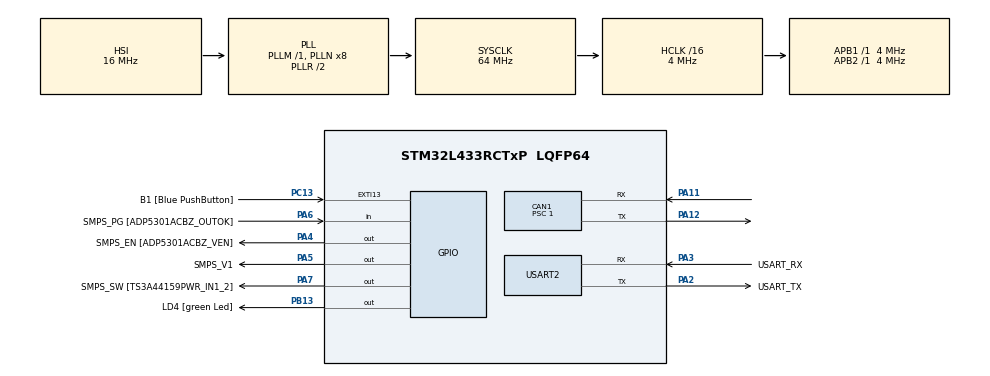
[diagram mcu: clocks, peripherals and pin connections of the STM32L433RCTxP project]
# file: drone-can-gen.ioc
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CAN1.BS1=CAN_BS1_6TQ
CAN1.CalculateBaudRate=500000
CAN1.CalculateTimeBit=2000
CAN1.CalculateTimeQuantum=250.0
CAN1.Prescaler=1
CAN1.SJW=CAN_SJW_2TQ
Mcu.Family=STM32L4
Mcu.Name=STM32L433RCTxP
Mcu.Package=LQFP64
NVIC.CAN1_RX0_IRQn=true\:0\:0\:false\:false\:true\:true\:true\:true
NVIC.CAN1_TX_IRQn=true\:0\:0\:false\:false\:true\:true\:true\:true
NVIC.PriorityGroup=NVIC_PRIORITYGROUP_4
PA11.GPIO_PuPd=GPIO_PULLUP
PA11.Mode=CAN_Activate
PA11.Signal=CAN1_RX
PA12.Mode=CAN_Activate
PA12.Signal=CAN1_TX
PA13\ (JTMS-SWDIO).GPIO_Label=TMS
PA13\ (JTMS-SWDIO).Mode=Serial_Wire
PA13\ (JTMS-SWDIO).Signal=SYS_JTMS-SWDIO
PA14\ (JTCK-SWCLK).GPIO_Label=TCK
PA14\ (JTCK-SWCLK).Mode=Serial_Wire
PA14\ (JTCK-SWCLK).Signal=SYS_JTCK-SWCLK
PA2.GPIO_Label=USART_TX
PA2.GPIO_Mode=GPIO_MODE_AF_PP
PA2.GPIO_PuPd=GPIO_NOPULL
PA2.GPIO_Speed=GPIO_SPEED_FREQ_VERY_HIGH
PA2.Mode=Asynchronous
PA2.Signal=USART2_TX
PA3.GPIO_Label=USART_RX
PA3.GPIO_Mode=GPIO_MODE_AF_PP
PA3.GPIO_PuPd=GPIO_NOPULL
PA3.GPIO_Speed=GPIO_SPEED_FREQ_VERY_HIGH
PA3.Mode=Asynchronous
PA3.Signal=USART2_RX
PA4.GPIO_Label=SMPS_EN [ADP5301ACBZ_VEN]
PA4.Signal=GPIO_Output
PA5.GPIO_Label=SMPS_V1
PA5.GPIO_ModeDefaultOutputPP=GPIO_MODE_OUTPUT_PP
PA5.GPIO_PuPd=GPIO_NOPULL
PA5.GPIO_Speed=GPIO_SPEED_FREQ_LOW
PA5.Signal=GPIO_Output
PA6.GPIO_Label=SMPS_PG [ADP5301ACBZ_OUTOK]
PA6.GPIO_PuPd=GPIO_PULLUP
PA6.Signal=GPIO_Input
PA7.GPIO_Label=SMPS_SW [TS3A44159PWR_IN1_2]
PA7.Signal=GPIO_Output
PB13.GPIO_Label=LD4 [green Led]
PB13.Signal=GPIO_Output
PB3\ (JTDO-TRACESWO).GPIO_Label=SWO
PB3\ (JTDO-TRACESWO).Signal=SYS_JTDO-SWO
PC13.GPIO_Label=B1 [Blue PushButton]
PC13.GPIO_ModeDefaultEXTI=GPIO_MODE_IT_FALLING
PC13.GPIO_PuPd=GPIO_NOPULL
PC13.Signal=GPXTI13
PC14-OSC32_IN\ (PC14).Mode=LSE-External-Oscillator
PC14-OSC32_IN\ (PC14).Signal=RCC_OSC32_IN
PC15-OSC32_OUT\ (PC15).Mode=LSE-External-Oscillator
PC15-OSC32_OUT\ (PC15).Signal=RCC_OSC32_OUT
PH0-OSC_IN\ (PH0).GPIO_Label=MCO
PH0-OSC_IN\ (PH0).Mode=HSE-External-Clock-Source
PH0-OSC_IN\ (PH0).Signal=RCC_OSC_IN
PH1-OSC_OUT\ (PH1).Signal=RCC_OSC_OUT
ProjectManager.HeapSize=0x200
ProjectManager.StackSize=0x400
ProjectManager.TargetToolchain=STM32CubeIDE
RCC.ADCFreq_Value=64000000
RCC.AHBCLKDivider=RCC_SYSCLK_DIV16
RCC.AHBFreq_Value=4000000
RCC.APB1Freq_Value=4000000
RCC.APB1TimFreq_Value=4000000
RCC.APB2Freq_Value=4000000
RCC.APB2TimFreq_Value=4000000
RCC.CortexFreq_Value=4000000
RCC.HCLKFreq_Value=4000000
RCC.HSE_VALUE=8000000
RCC.HSI48_VALUE=48000000
RCC.HSI_VALUE=16000000
RCC.MSIClockRange=RCC_MSIRANGE_11
RCC.MSI_VALUE=48000000
RCC.PLLSourceVirtual=RCC_PLLSOURCE_HSI
RCC.PREFETCH_ENABLE=1
RCC.SYSCLKFreq_VALUE=64000000
RCC.SYSCLKSource=RCC_SYSCLKSOURCE_PLLCLK
RCC.USBFreq_Value=64000000
RCC.VCOOutputFreq_Value=128000000
USART2.VirtualMode-Asynchronous=VM_ASYNC
VP_TIM1_VS_ClockSourceITR.Mode=TriggerSource_ITR1
board=NUCLEO-L433RC-P

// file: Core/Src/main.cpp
/* USER CODE BEGIN Header */
/**
  ******************************************************************************
  * @file           : main.c
  * @brief          : Main program body
  ******************************************************************************
  * @attention
  *
  * Copyright (c) 2025 STMicroelectronics.
  * All rights reserved.
  *
  * This software is licensed under terms that can be found in the LICENSE file
  * in the root directory of this software component.
  * If no LICENSE file comes with this software, it is provided AS-IS.
  *
  ******************************************************************************
  */
/* USER CODE END Header */
#include "main.h"

/* USER CODE BEGIN Includes */
#define USER_VECT_TAB_ADDRESS
#include "canard.h"
#include "dronecan_msgs.h"
#include "canard_stm32_driver.h"
#include <stdio.h>
#include "stm32l4xx_hal.h"

/* USER CODE END Includes */

CAN_HandleTypeDef hcan1;

TIM_HandleTypeDef htim1;

UART_HandleTypeDef huart2;

/* USER CODE BEGIN PV */
static CanardInstance canard;
static const size_t BUFFER_SIZE = 1024;
static uint8_t canard_buffer[BUFFER_SIZE];
static const uint8_t NODE_ID = 42;
static const char * const NODE_NAME = "drone-can-gen";
static uavcan_protocol_NodeStatus node_status;

/* USER CODE END PV */

void SystemClock_Config(void);
static void MX_GPIO_Init(void);
static void MX_USART2_UART_Init(void);
static void MX_CAN1_Init(void);
static void MX_TIM1_Init(void);

/* USER CODE BEGIN 0 */
void onTransferReceived(CanardInstance *ins, CanardRxTransfer *transfer) {
  switch (transfer->transfer_type) {
  case CanardTransferTypeRequest:
    if (transfer->data_type_id == UAVCAN_PROTOCOL_GETNODEINFO_ID) {
      // handleGetNodeInfo(transfer);
    }
    break;
  case CanardTransferTypeResponse:
    break;
  case CanardTransferTypeBroadcast:

    break;
  }
}
bool shouldAcceptTransfer(const CanardInstance *ins,
                          uint64_t *out_data_type_signature,
                          uint16_t data_type_id,
                          CanardTransferType transfer_type,
                          uint8_t source_node_id) {
  if (transfer_type == CanardTransferTypeRequest) {
    // check if we want to handle a specific service request
    switch (data_type_id) {
    case UAVCAN_PROTOCOL_GETNODEINFO_ID: {
      *out_data_type_signature = UAVCAN_PROTOCOL_GETNODEINFO_REQUEST_SIGNATURE;
      return true;
    }
    }
  }
  // we don't want any other messages
  return false;
}
void processCanardTxQueue() {
  for (const CanardCANFrame *tx_frame;
       (tx_frame = canardPeekTxQueue(&canard)) != NULL;) {
    const int16_t tx_res = canardSTM32Transmit(&hcan1, tx_frame);

    if (tx_res < 0) {
      printf("Transmit error %d\n", tx_res);
      canardPopTxQueue(&canard);
    } else if (tx_res > 0) {
      printf("Successfully transmitted message\n");
      canardPopTxQueue(&canard);
    } else {
      printf("Timeout! Trying again later.\n");
      break;
    }
  }
}
void broadcastNodeStatus() {
  uint8_t status_buffer[UAVCAN_PROTOCOL_NODESTATUS_MAX_SIZE];

  node_status.uptime_sec = HAL_GetTick() / 1000U;
  node_status.health = UAVCAN_PROTOCOL_NODESTATUS_HEALTH_OK;
  node_status.mode = UAVCAN_PROTOCOL_NODESTATUS_MODE_OPERATIONAL;
  node_status.sub_mode = 0;
  node_status.vendor_specific_status_code = 0;

  uint32_t len = uavcan_protocol_NodeStatus_encode(&node_status, status_buffer);

  // we need a static variable for the transfer ID. This is
  // incremeneted on each transfer, allowing for detection of packet
  // loss
  static uint8_t transfer_id;

  canardBroadcast(&canard, UAVCAN_PROTOCOL_NODESTATUS_SIGNATURE,
                  UAVCAN_PROTOCOL_NODESTATUS_ID, &transfer_id,
                  CANARD_TRANSFER_PRIORITY_LOW, status_buffer, len);
}

/* USER CODE END 0 */

int main(void)
{

  /* MCU Configuration--------------------------------------------------------*/

  /* Reset of all peripherals, Initializes the Flash interface and the Systick. */
  HAL_Init();

  /* Configure the system clock */
  SystemClock_Config();

  /* Initialize all configured peripherals */
  MX_GPIO_Init();
  MX_USART2_UART_Init();
  MX_CAN1_Init();
  MX_TIM1_Init();
  /* USER CODE BEGIN 2 */
  while (HAL_CAN_Start(&hcan1) != HAL_OK) {
 	  HAL_Delay(20);
   }
  canardInit(&canard, canard_buffer, BUFFER_SIZE, onTransferReceived,
 	               shouldAcceptTransfer, NULL);
  canardSetLocalNodeID(&canard, NODE_ID);

  /* USER CODE END 2 */

  /* Infinite loop */
  /* USER CODE BEGIN WHILE */
  uint64_t last_millis = HAL_GetTick();

  while (1)
  {

	  processCanardTxQueue();
    /* USER CODE END WHILE */

    /* USER CODE BEGIN 3 */
	  if (HAL_GetTick() - last_millis > 3000) {
		  last_millis += 3000;
		  printf("broadcasting node status\n");
		  broadcastNodeStatus();
	  }
	  HAL_Delay(20);

  }

  /* USER CODE END 3 */
}

void SystemClock_Config(void)
{
  RCC_OscInitTypeDef RCC_OscInitStruct = {0};
  RCC_ClkInitTypeDef RCC_ClkInitStruct = {0};

  /** Configure the main internal regulator output voltage
  */
  if (HAL_PWREx_ControlVoltageScaling(PWR_REGULATOR_VOLTAGE_SCALE1) != HAL_OK)
  {
    Error_Handler();
  }

  /** Initializes the RCC Oscillators according to the specified parameters
  * in the RCC_OscInitTypeDef structure.
  */
  RCC_OscInitStruct.OscillatorType = RCC_OSCILLATORTYPE_HSI;
  RCC_OscInitStruct.HSIState = RCC_HSI_ON;
  RCC_OscInitStruct.HSICalibrationValue = RCC_HSICALIBRATION_DEFAULT;
  RCC_OscInitStruct.PLL.PLLState = RCC_PLL_ON;
  RCC_OscInitStruct.PLL.PLLSource = RCC_PLLSOURCE_HSI;
  RCC_OscInitStruct.PLL.PLLM = 1;
  RCC_OscInitStruct.PLL.PLLN = 8;
  RCC_OscInitStruct.PLL.PLLP = RCC_PLLP_DIV7;
  RCC_OscInitStruct.PLL.PLLQ = RCC_PLLQ_DIV2;
  RCC_OscInitStruct.PLL.PLLR = RCC_PLLR_DIV2;
  if (HAL_RCC_OscConfig(&RCC_OscInitStruct) != HAL_OK)
  {
    Error_Handler();
  }

  /** Initializes the CPU, AHB and APB buses clocks
  */
  RCC_ClkInitStruct.ClockType = RCC_CLOCKTYPE_HCLK|RCC_CLOCKTYPE_SYSCLK
                              |RCC_CLOCKTYPE_PCLK1|RCC_CLOCKTYPE_PCLK2;
  RCC_ClkInitStruct.SYSCLKSource = RCC_SYSCLKSOURCE_PLLCLK;
  RCC_ClkInitStruct.AHBCLKDivider = RCC_SYSCLK_DIV16;
  RCC_ClkInitStruct.APB1CLKDivider = RCC_HCLK_DIV1;
  RCC_ClkInitStruct.APB2CLKDivider = RCC_HCLK_DIV1;

  if (HAL_RCC_ClockConfig(&RCC_ClkInitStruct, FLASH_LATENCY_0) != HAL_OK)
  {
    Error_Handler();
  }
}

static void MX_CAN1_Init(void)
{

  hcan1.Instance = CAN1;
  hcan1.Init.Prescaler = 1;
  hcan1.Init.Mode = CAN_MODE_NORMAL;
  hcan1.Init.SyncJumpWidth = CAN_SJW_2TQ;
  hcan1.Init.TimeSeg1 = CAN_BS1_6TQ;
  hcan1.Init.TimeSeg2 = CAN_BS2_1TQ;
  hcan1.Init.TimeTriggeredMode = DISABLE;
  hcan1.Init.AutoBusOff = DISABLE;
  hcan1.Init.AutoWakeUp = DISABLE;
  hcan1.Init.AutoRetransmission = DISABLE;
  hcan1.Init.ReceiveFifoLocked = DISABLE;
  hcan1.Init.TransmitFifoPriority = DISABLE;
  if (HAL_CAN_Init(&hcan1) != HAL_OK)
  {
    Error_Handler();
  }

}

static void MX_TIM1_Init(void)
{

  TIM_SlaveConfigTypeDef sSlaveConfig = {0};
  TIM_MasterConfigTypeDef sMasterConfig = {0};

  htim1.Instance = TIM1;
  htim1.Init.Prescaler = 0;
  htim1.Init.CounterMode = TIM_COUNTERMODE_UP;
  htim1.Init.Period = 65535;
  htim1.Init.ClockDivision = TIM_CLOCKDIVISION_DIV1;
  htim1.Init.RepetitionCounter = 0;
  htim1.Init.AutoReloadPreload = TIM_AUTORELOAD_PRELOAD_DISABLE;
  if (HAL_TIM_Base_Init(&htim1) != HAL_OK)
  {
    Error_Handler();
  }
  sSlaveConfig.SlaveMode = TIM_SLAVEMODE_DISABLE;
  sSlaveConfig.InputTrigger = TIM_TS_ITR1;
  if (HAL_TIM_SlaveConfigSynchro(&htim1, &sSlaveConfig) != HAL_OK)
  {
    Error_Handler();
  }
  sMasterConfig.MasterOutputTrigger = TIM_TRGO_RESET;
  sMasterConfig.MasterOutputTrigger2 = TIM_TRGO2_RESET;
  sMasterConfig.MasterSlaveMode = TIM_MASTERSLAVEMODE_DISABLE;
  if (HAL_TIMEx_MasterConfigSynchronization(&htim1, &sMasterConfig) != HAL_OK)
  {
    Error_Handler();
  }

}

static void MX_USART2_UART_Init(void)
{

  huart2.Instance = USART2;
  huart2.Init.BaudRate = 115200;
  huart2.Init.WordLength = UART_WORDLENGTH_8B;
  huart2.Init.StopBits = UART_STOPBITS_1;
  huart2.Init.Parity = UART_PARITY_NONE;
  huart2.Init.Mode = UART_MODE_TX_RX;
  huart2.Init.HwFlowCtl = UART_HWCONTROL_NONE;
  huart2.Init.OverSampling = UART_OVERSAMPLING_16;
  huart2.Init.OneBitSampling = UART_ONE_BIT_SAMPLE_DISABLE;
  huart2.AdvancedInit.AdvFeatureInit = UART_ADVFEATURE_NO_INIT;
  if (HAL_UART_Init(&huart2) != HAL_OK)
  {
    Error_Handler();
  }

}

static void MX_GPIO_Init(void)
{
  GPIO_InitTypeDef GPIO_InitStruct = {0};

  /* GPIO Ports Clock Enable */
  __HAL_RCC_GPIOC_CLK_ENABLE();
  __HAL_RCC_GPIOH_CLK_ENABLE();
  __HAL_RCC_GPIOA_CLK_ENABLE();
  __HAL_RCC_GPIOB_CLK_ENABLE();

  /*Configure GPIO pin Output Level */
  HAL_GPIO_WritePin(GPIOA, SMPS_EN_Pin|SMPS_V1_Pin|SMPS_SW_Pin, GPIO_PIN_RESET);

  /*Configure GPIO pin Output Level */
  HAL_GPIO_WritePin(LD4_GPIO_Port, LD4_Pin, GPIO_PIN_RESET);

  /*Configure GPIO pin : B1_Pin */
  GPIO_InitStruct.Pin = B1_Pin;
  GPIO_InitStruct.Mode = GPIO_MODE_IT_FALLING;
  GPIO_InitStruct.Pull = GPIO_NOPULL;
  HAL_GPIO_Init(B1_GPIO_Port, &GPIO_InitStruct);

  /*Configure GPIO pins : SMPS_EN_Pin SMPS_V1_Pin SMPS_SW_Pin */
  GPIO_InitStruct.Pin = SMPS_EN_Pin|SMPS_V1_Pin|SMPS_SW_Pin;
  GPIO_InitStruct.Mode = GPIO_MODE_OUTPUT_PP;
  GPIO_InitStruct.Pull = GPIO_NOPULL;
  GPIO_InitStruct.Speed = GPIO_SPEED_FREQ_LOW;
  HAL_GPIO_Init(GPIOA, &GPIO_InitStruct);

  /*Configure GPIO pin : SMPS_PG_Pin */
  GPIO_InitStruct.Pin = SMPS_PG_Pin;
  GPIO_InitStruct.Mode = GPIO_MODE_INPUT;
  GPIO_InitStruct.Pull = GPIO_PULLUP;
  HAL_GPIO_Init(SMPS_PG_GPIO_Port, &GPIO_InitStruct);

  /*Configure GPIO pin : LD4_Pin */
  GPIO_InitStruct.Pin = LD4_Pin;
  GPIO_InitStruct.Mode = GPIO_MODE_OUTPUT_PP;
  GPIO_InitStruct.Pull = GPIO_NOPULL;
  GPIO_InitStruct.Speed = GPIO_SPEED_FREQ_LOW;
  HAL_GPIO_Init(LD4_GPIO_Port, &GPIO_InitStruct);

}

void Error_Handler(void)
{
  __disable_irq();
  while (1)
  {
  }
}
